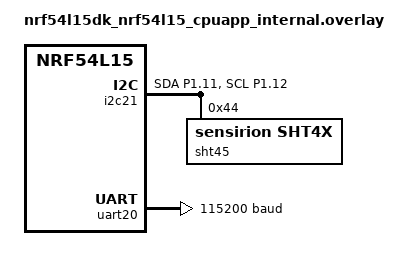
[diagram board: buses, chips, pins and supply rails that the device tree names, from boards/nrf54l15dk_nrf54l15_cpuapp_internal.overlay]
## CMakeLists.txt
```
cmake_minimum_required(VERSION 3.20.0)

find_package(Zephyr HINTS $ENV{ZEPHYR_BASE})

project(humid_zephyr)

# Enable GNU STD support for Matter to use
include(${ZEPHYR_CONNECTEDHOMEIP_MODULE_DIR}/config/nrfconnect/app/enable-gnu-std.cmake)

# Matter data model generation
include(${ZEPHYR_CONNECTEDHOMEIP_MODULE_DIR}/src/app/chip_data_model.cmake)

target_include_directories(app PRIVATE
    src
    src/zap-generated
)

target_sources(app PRIVATE
    src/main.cpp
    src/app_task.cpp
    src/identify_stub.cpp
    src/sht4x.cpp
    src/commissioning_window.cpp
)

target_include_directories(matter-data-model PUBLIC
    src
)

chip_configure_data_model(app
    BYPASS_IDL
    GEN_DIR src/zap-generated
    ZAP_FILE ${CMAKE_CURRENT_SOURCE_DIR}/src/sensor.zap
)
```

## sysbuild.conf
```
SB_CONFIG_MATTER=y

# Enable image build for Matter OTA
SB_CONFIG_DFU_MULTI_IMAGE_PACKAGE_BUILD=y
SB_CONFIG_DFU_MULTI_IMAGE_PACKAGE_APP=y

SB_CONFIG_MCUBOOT_MODE_OVERWRITE_ONLY=y
```

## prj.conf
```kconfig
# nRF54 Soil Moisture Sensor - Debug Configuration
# Development build with full logging

# Application features
CONFIG_APP_MEASUREMENT_INTERVAL_SEC=10

# Device-specific product config
CONFIG_BT_DEVICE_NAME="Humid"
CONFIG_CHIP_DEVICE_TYPE=775
CONFIG_CHIP_DEVICE_VENDOR_ID=65521
CONFIG_CHIP_DEVICE_VENDOR_NAME="Dan Stiner"
CONFIG_CHIP_DEVICE_PRODUCT_ID=32768
CONFIG_CHIP_DEVICE_PRODUCT_NAME="Humidity Sensor"
CONFIG_CHIP_PROJECT_CONFIG="src/chip_project_config.h"

# Enable sensors and I2C bus
CONFIG_SENSOR=y
CONFIG_I2C=y
CONFIG_PINCTRL=y

CONFIG_FLASH=y

CONFIG_GPIO=y
CONFIG_SPI=y
CONFIG_SPI_NOR=y
CONFIG_SPI_NOR_SFDP_DEVICETREE=y
CONFIG_SPI_NOR_FLASH_LAYOUT_PAGE_SIZE=4096
CONFIG_NORDIC_QSPI_NOR=n 

# Enable CHIP (Matter)
CONFIG_CHIP=y
CONFIG_CHIP_COMMISSIONABLE_DEVICE_TYPE=y
CONFIG_CHIP_ENABLE_PAIRING_AUTOSTART=y
CONFIG_CHIP_LIB_SHELL=y
CONFIG_CHIP_MAX_ACTIVE_DEVICES=1
CONFIG_CHIP_PERSISTENT_SUBSCRIPTIONS=y
CONFIG_CHIP_ROTATING_DEVICE_ID=y

# Enable OTA Requestor
CONFIG_CHIP_OTA_REQUESTOR=y

CONFIG_STD_CPP17=y
CONFIG_THREAD_NAME=y
CONFIG_MPU_STACK_GUARD=y

# Enable Intermittently Connected Device support,
# with Long Idle Time to reduce power usage
CONFIG_CHIP_ENABLE_ICD_SUPPORT=y
CONFIG_CHIP_ICD_LIT_SUPPORT=y

# Debug: Faster polling for OTA testing
CONFIG_CHIP_ICD_SLOW_POLL_INTERVAL=30000

# OpenThread shell for debugging
CONFIG_OPENTHREAD_SHELL=y
CONFIG_SHELL_BACKEND_SERIAL_RX_RING_BUFFER_SIZE=256

# GRTC timer for wakeup from System OFF
CONFIG_NRF_GRTC_TIMER=y

# RAM retention in System OFF
CONFIG_RETAINED_MEM=y
CONFIG_RETAINED_MEM_MUTEX_FORCE_DISABLE=y
CONFIG_RETENTION=y
CONFIG_CRC=y

# Hardware info for reset cause detection
CONFIG_HWINFO=y

# Power Management
CONFIG_PM=y
CONFIG_PM_DEVICE=y
CONFIG_PM_DEVICE_RUNTIME=y

# System Off (deep sleep)
CONFIG_POWEROFF=y

# Serial/UART power management
# CONFIG_UART_USE_RUNTIME_CONFIGURE=y
# CONFIG_UART_ASYNC_API=y

# Memory footprint
CONFIG_HEAP_MEM_POOL_SIZE=1024
CONFIG_IDLE_STACK_SIZE=256

# Console for debugging
CONFIG_CONSOLE=y
CONFIG_UART_CONSOLE=y

# Configure UART async logging and shell
CONFIG_LOG=y
CONFIG_LOG_MODE_DEFERRED=y
CONFIG_LOG_PROCESS_THREAD_STACK_SIZE=1024
CONFIG_LOG_BUFFER_SIZE=4096
CONFIG_LOG_FUNC_NAME_PREFIX_DBG=n
CONFIG_SHELL=y
CONFIG_SHELL_LOG_BACKEND=y
CONFIG_MATTER_LOG_LEVEL_INF=y

# CHIP size optimizations
CONFIG_CHIP_LOG_SIZE_OPTIMIZATION=y

# Reduce radio TX power
CONFIG_OPENTHREAD_DEFAULT_TX_POWER=-4
CONFIG_BT_CTLR_TX_PWR_MINUS_8=y

# TODO Not sure why this is needed, without it we stack overflow main upon commisioning
CONFIG_MAIN_STACK_SIZE=8196
```

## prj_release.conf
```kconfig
# Release Configuration with reduced power consumption

# Application features
CONFIG_APP_MEASUREMENT_INTERVAL_SEC=1200

# Slower Thread polling
CONFIG_CHIP_ICD_SLOW_POLL_INTERVAL=300000

# Disable logging
CONFIG_LOG=n

# Disable Matter/CHIP logging (0 = OFF)
CONFIG_CHIP_APP_LOG_LEVEL=0

# Disable console/UART console
CONFIG_CONSOLE=n
CONFIG_UART_CONSOLE=n
CONFIG_SERIAL=n

# Disable assertions
CONFIG_ASSERT=n
CONFIG_ASSERT_VERBOSE=n

# Disable debug features
CONFIG_DEBUG=n
CONFIG_USE_SEGGER_RTT=n
CONFIG_SHELL=n
CONFIG_OPENTHREAD_SHELL=n
CONFIG_CONSOLE=n
CONFIG_UART_CONSOLE=n
CONFIG_SERIAL=n
CONFIG_LOG=n
CONFIG_LOG_MODE_MINIMAL=n
CONFIG_ASSERT_VERBOSE=n
CONFIG_ASSERT_NO_FILE_INFO=y
CONFIG_PRINTK=n
CONFIG_PRINTK_SYNC=n
CONFIG_THREAD_NAME=n
CONFIG_BOOT_BANNER=n

# Disable shell
CONFIG_SHELL=n
CONFIG_CHIP_LIB_SHELL=n
```

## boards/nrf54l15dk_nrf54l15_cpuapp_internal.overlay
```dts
/ {
};

/* I2C for SHT45 humidity/temperature sensor */
&i2c21 {
	status = "okay";
	pinctrl-0 = <&i2c21_default>;
	pinctrl-1 = <&i2c21_sleep>;
	pinctrl-names = "default", "sleep";

	sht45: sht4x@44 {
		compatible = "sensirion,sht4x";
		reg = <0x44>;
		repeatability = <2>;
		status = "okay";
	};
};

&pinctrl {
	i2c21_default: i2c21_default {
		group1 {
			psels = <NRF_PSEL(TWIM_SDA, 1, 11)>, <NRF_PSEL(TWIM_SCL, 1, 12)>;
			bias-pull-up;
		};
	};

	i2c21_sleep: i2c21_sleep {
		group1 {
			psels = <NRF_PSEL(TWIM_SDA, 1, 11)>, <NRF_PSEL(TWIM_SCL, 1, 12)>;
			low-power-enable;
		};
	};
};

/* Keep UART20 for console (it's the default console) */
&uart20 {
	status = "okay";
	current-speed = <115200>;
};

/* Disable unused peripherals to save power */
&uart21 {
	status = "disabled";
};

&uart22 {
	status = "disabled";
};

&uart30 {
	status = "disabled";
};

// restore full RRAM and SRAM space - by default some parts are dedicated to FLRP
&cpuapp_rram {
	reg = <0x0 DT_SIZE_K(1524)>;
};

&cpuapp_sram {
	reg = <0x20000000 DT_SIZE_K(256)>;
	ranges = <0x0 0x20000000  0x40000>;
};

// Disable external flash
&mx25r64 {
	status = "disabled";
};
```

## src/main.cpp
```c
#include "app_task.h"

#include <zephyr/kernel.h>
#include <zephyr/logging/log.h>
#include <zephyr/sys/printk.h>

LOG_MODULE_REGISTER(app, CONFIG_CHIP_APP_LOG_LEVEL);

int main()
{
	LOG_INF("Starting...");
	CHIP_ERROR err = AppTask::StartApp();
	LOG_ERR("Exited with code %" CHIP_ERROR_FORMAT, err.Format());
	return err == CHIP_NO_ERROR ? EXIT_SUCCESS : EXIT_FAILURE;
}
```

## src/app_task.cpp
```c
#include "app_task.h"
#include "sht4x.h"

#include <app/server/Server.h>
#include <app/clusters/network-commissioning/network-commissioning.h>
#include <app/clusters/ota-requestor/BDXDownloader.h>
#include <app/clusters/ota-requestor/DefaultOTARequestor.h>
#include <app/clusters/ota-requestor/DefaultOTARequestorDriver.h>
#include <app/clusters/ota-requestor/DefaultOTARequestorStorage.h>
#include <app/clusters/ota-requestor/OTARequestorInterface.h>
#include <app/reporting/reporting.h>
#include <app/util/attribute-storage.h>
#include <app-common/zap-generated/attributes/Accessors.h>
#include <credentials/DeviceAttestationCredsProvider.h>
#include <credentials/examples/DeviceAttestationCredsExample.h>
#include <data-model-providers/codegen/Instance.h>
#include <inet/EndPointStateOpenThread.h>
#include <lib/core/CHIPError.h>
#include <lib/support/CodeUtils.h>
#include <platform/CHIPDeviceLayer.h>
#include <platform/nrfconnect/OTAImageProcessorImpl.h>
#include <platform/OpenThread/GenericNetworkCommissioningThreadDriver.h>
#include <platform/ThreadStackManager.h>

#include "zap-generated/endpoint_config.h"

#include <zephyr/drivers/sensor.h>
#include <zephyr/kernel.h>
#include <zephyr/logging/log.h>
#include <zephyr/sys/printk.h>

LOG_MODULE_REGISTER(app_task, CONFIG_CHIP_APP_LOG_LEVEL);

using namespace ::chip;
using namespace ::chip::DeviceLayer;

namespace {
chip::app::Clusters::NetworkCommissioning::InstanceAndDriver<
	chip::DeviceLayer::NetworkCommissioning::GenericThreadDriver> THREAD_NETWORK_DRIVER(0);

// OTA Requestor
chip::DefaultOTARequestorStorage sOTARequestorStorage;
chip::DeviceLayer::DefaultOTARequestorDriver sOTARequestorDriver;
chip::BDXDownloader sBDXDownloader;
chip::DefaultOTARequestor sOTARequestor;

struct k_work_delayable measure_work;
Sht4x sht4x;

void LockOpenThreadTask()
{
	ThreadStackMgr().LockThreadStack();
}

void UnlockOpenThreadTask()
{
	ThreadStackMgr().UnlockThreadStack();
}

} // namespace

void AppTask::MeasureWorkPeriodic(struct k_work *work)
{
	int16_t temperature;
	uint16_t humidity;
	bool success = false;
	if (sht4x.Ready()) {

		// Read SHT4x sensor
		success = sht4x.Read(temperature, humidity);
	} else {
		LOG_DBG("Sht4x not ready");
	}

	// Update Matter attributes
	PlatformMgr().LockChipStack();
	if (success) {
		chip::app::Clusters::TemperatureMeasurement::Attributes::MeasuredValue::Set(
			1, chip::app::DataModel::Nullable<int16_t>(temperature));
		chip::app::Clusters::RelativeHumidityMeasurement::Attributes::MeasuredValue::Set(
			1, chip::app::DataModel::Nullable<uint16_t>(humidity));
	} else {
		// Set to null on error to indicate sensor unavailable
		chip::app::Clusters::TemperatureMeasurement::Attributes::MeasuredValue::Set(
			1, chip::app::DataModel::Nullable<int16_t>());
		chip::app::Clusters::RelativeHumidityMeasurement::Attributes::MeasuredValue::Set(
			1, chip::app::DataModel::Nullable<uint16_t>());
	}
	PlatformMgr().UnlockChipStack();

	k_work_schedule(&measure_work, K_SECONDS(CONFIG_APP_MEASUREMENT_INTERVAL_SEC));
}

CHIP_ERROR AppTask::Init()
{
	ReturnErrorOnFailure(PlatformMgr().InitChipStack());

	ReturnErrorOnFailure(ThreadStackMgr().InitThreadStack());

	THREAD_NETWORK_DRIVER.Init();

	chip::Credentials::SetDeviceAttestationCredentialsProvider(
		chip::Credentials::Examples::GetExampleDACProvider());

	static chip::CommonCaseDeviceServerInitParams initParams;

	chip::Inet::EndPointStateOpenThread::OpenThreadEndpointInitParam nativeParams;
	nativeParams.lockCb = LockOpenThreadTask;
	nativeParams.unlockCb = UnlockOpenThreadTask;
	nativeParams.openThreadInstancePtr = ThreadStackMgrImpl().OTInstance();
	initParams.endpointNativeParams = static_cast<void *>(&nativeParams);

	ReturnErrorOnFailure(initParams.InitializeStaticResourcesBeforeServerInit());

	initParams.dataModelProvider = chip::app::CodegenDataModelProviderInstance(initParams.persistentStorageDelegate);

	ReturnErrorOnFailure(chip::Server::GetInstance().Init(initParams));

	ConfigurationMgr().LogDeviceConfig();

	// Initialize OTA Requestor
	static chip::DeviceLayer::OTAImageProcessorImpl sOTAImageProcessor;
	sOTAImageProcessor.SetOTADownloader(&sBDXDownloader);
	sBDXDownloader.SetImageProcessorDelegate(&sOTAImageProcessor);
	sOTARequestorStorage.Init(chip::Server::GetInstance().GetPersistentStorage());
	sOTARequestor.Init(chip::Server::GetInstance(), sOTARequestorStorage, sOTARequestorDriver, sBDXDownloader);
	sOTARequestorDriver.Init(&sOTARequestor, &sOTAImageProcessor);
	chip::SetRequestorInstance(&sOTARequestor);

	// Initialize SHT4x driver
	ReturnErrorOnFailure(sht4x.Init());

	// Start measurement periodic after short delay
	// TODO only start once commissioned
	k_work_init_delayable(&measure_work, AppTask::MeasureWorkPeriodic);
	k_work_schedule(&measure_work, K_MSEC(500));

	return CHIP_NO_ERROR;
}

CHIP_ERROR AppTask::StartApp()
{
	ReturnErrorOnFailure(Init());

	LOG_INF("Matter server initialized");

	// Use current thread to drive CHIP event loop
	PlatformMgr().RunEventLoop();

	return CHIP_NO_ERROR;
}
```

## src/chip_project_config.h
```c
/*
 * nRF54 Soil Moisture Sensor - CHIP Project Configuration
 */

#pragma once

// Placeholder for Matter project-specific configurations
// Most configs are in prj.conf, this file is required but can be minimal
```

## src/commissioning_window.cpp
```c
#include <app/server/CommissioningWindowManager.h>
#include <app/server/Server.h>
#include <lib/core/CHIPError.h>
#include <lib/support/CodeUtils.h>
#include <platform/CHIPDeviceLayer.h>

#include <zephyr/kernel.h>
#include <zephyr/logging/log.h>
#include <zephyr/shell/shell.h>

LOG_MODULE_REGISTER(commissioning_window, CONFIG_CHIP_APP_LOG_LEVEL);

using namespace chip;
using namespace chip::DeviceLayer;

namespace {

static int OpenCommissioningWindowCommand(const struct shell *shell, size_t argc, char **argv)
{
	// Default timeout: 180 seconds (3 minutes)
	uint16_t timeout_seconds = 180;

	if (argc > 1) {
		timeout_seconds = static_cast<uint16_t>(atoi(argv[1]));
		if (timeout_seconds == 0 || timeout_seconds > 900) {
			shell_error(shell, "Invalid timeout. Use 1-900 seconds.");
			return -EINVAL;
		}
	}

	PlatformMgr().LockChipStack();

	auto &commissionMgr = Server::GetInstance().GetCommissioningWindowManager();

	// Open a basic commissioning window (uses existing device credentials)
	// This is simpler than enhanced mode and works well for multi-admin
	CHIP_ERROR err = commissionMgr.OpenBasicCommissioningWindow(
		System::Clock::Seconds16(timeout_seconds),
		CommissioningWindowAdvertisement::kDnssdOnly);

	PlatformMgr().UnlockChipStack();

	if (err == CHIP_NO_ERROR) {
		shell_print(shell, "Commissioning window opened for %d seconds", timeout_seconds);
		shell_print(shell, "Use existing device credentials to pair:");
		shell_print(shell, "  Setup PIN: 20202021");
		shell_print(shell, "  Discriminator: 3840");
		shell_print(shell, "");
		shell_print(shell, "From chip-tool, run:");
		shell_print(shell, "  chip-tool pairing onnetwork-long <node-id> 20202021 3840");
	} else {
		shell_error(shell, "Failed to open commissioning window: %" CHIP_ERROR_FORMAT, err.Format());
		return -EIO;
	}

	return 0;
}

SHELL_STATIC_SUBCMD_SET_CREATE(
	commissioning_cmds,
	SHELL_CMD_ARG(open, NULL,
		"Open commissioning window for multi-admin\n"
		"Usage: commissioning open [timeout_seconds]\n"
		"  timeout_seconds: 1-900 (default: 180)",
		OpenCommissioningWindowCommand, 1, 1),
	SHELL_SUBCMD_SET_END
);

SHELL_CMD_REGISTER(commissioning, &commissioning_cmds, "Commissioning window commands", NULL);

} // namespace
```

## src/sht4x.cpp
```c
#include "sht4x.h"

#include <zephyr/drivers/sensor/sht4x.h>
#include <zephyr/drivers/sensor.h>
#include <zephyr/logging/log.h>

LOG_MODULE_REGISTER(sht4x, CONFIG_CHIP_APP_LOG_LEVEL);

#if !DT_HAS_COMPAT_STATUS_OKAY(sensirion_sht4x)
#error "No sensirion,sht4x compatible node found in the device tree"
#endif

CHIP_ERROR Sht4x::Init()
{
	CHIP_ERROR err = CHIP_NO_ERROR;

	LOG_DBG("Initialize sensirion_sht4x");
	
	sht = DEVICE_DT_GET_ANY(sensirion_sht4x);

    if (!device_is_ready(sht))
    {
		// TODO handle failure more gracefully
        return CHIP_NO_ERROR;
    }


#if APP_SHT4X_USE_HEATER
	struct sensor_value heater_p;
	struct sensor_value heater_d;

	heater_p.val1 = CONFIG_SHT4X_HEATER_PULSE_POWER;
	heater_d.val1 = !!CONFIG_SHT4X_HEATER_PULSE_DURATION_LONG;
	sensor_attr_set(sht, SENSOR_CHAN_ALL, SENSOR_ATTR_SHT4X_HEATER_POWER, &heater_p);
	sensor_attr_set(sht, SENSOR_CHAN_ALL, SENSOR_ATTR_SHT4X_HEATER_DURATION, &heater_d);
#endif

	return err;
}

bool Sht4x::Ready()
{
	return device_is_ready(sht);
}

bool Sht4x::Read(int16_t &temperature, uint16_t &humidity)
{
	struct sensor_value temp, hum;
	int rc;

	rc = sensor_sample_fetch(sht);
	if (rc != 0) {
		LOG_ERR("Failed to fetch sample from SHT4X: %d", rc);
		return false;
	}

	rc = sensor_channel_get(sht, SENSOR_CHAN_AMBIENT_TEMP, &temp);
	if (rc != 0) {
		LOG_ERR("Failed to read SHT4X temperature: %d", rc);
		return false;
	}

	rc = sensor_channel_get(sht, SENSOR_CHAN_HUMIDITY, &hum);
	if (rc != 0) {
		LOG_ERR("Failed to read SHT4X humidity: %d", rc);
		return false;
	}

#if CONFIG_SHT4X_USE_HEATER
		/*
		 * Conditions in which it makes sense to activate the heater
		 * are application/environment specific.
		 *
		 * The heater should not be used above SHT4X_HEATER_MAX_TEMP (65 °C)
		 * as stated in the datasheet.
		 *
		 * The temperature data will not be updated here for obvious reasons.
		 **/
		if (hum.val1 > CONFIG_SHT4X_HEATER_HUMIDITY_THRESH &&
		    temp.val1 < SHT4X_HEATER_MAX_TEMP_C) {
			LOG_INF("Activating heater");

			if (sht4x_fetch_with_heater(sht)) {
				LOG_ERR("Failed to fetch sample from SHT4X device");
				return false;
			}

			sensor_channel_get(sht, SENSOR_CHAN_HUMIDITY, &hum);
		}
#endif

	// Convert to Matter format
	// Temperature: 0.01°C units
	temperature = (temp.val1 * 100) + (temp.val2 / 10000);

	// Humidity: 0.01% units (0-10000 = 0-100%)
	humidity = (hum.val1 * 100) + (hum.val2 / 10000);

	LOG_INF("Read %d.%02d°C, %d.%02d%% RH",
		temp.val1, temp.val2 / 10000, hum.val1, hum.val2 / 10000);

	return true;
}
```

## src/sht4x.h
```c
#pragma once

#include <lib/core/CHIPError.h>

using namespace chip;

class Sht4x {
public:
	CHIP_ERROR Init();

	bool Ready();

	// Read temperature and humidity
	// Returns true on success, false on error
	// temperature: in 0.01°C units (Matter format)
	// humidity: in 0.01% units (0-10000 = 0-100%)
	// Will activate heater as necessary
	bool Read(int16_t &temperature, uint16_t &humidity);

private:
	const struct device *sht;
};
```
